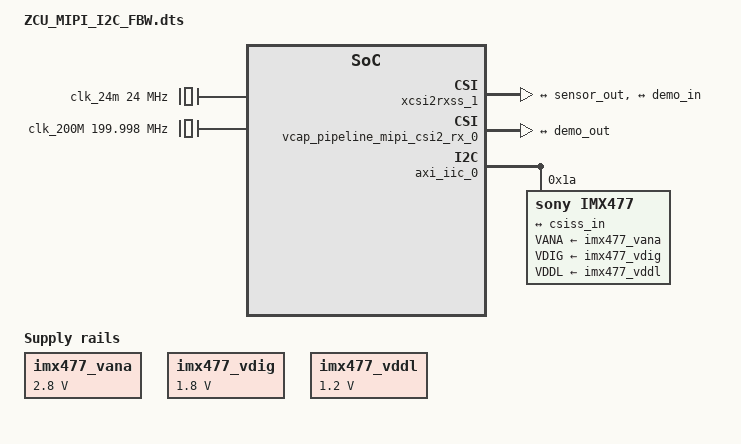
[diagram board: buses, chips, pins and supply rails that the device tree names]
/dts-v1/;
/plugin/;
/ {

    fragment@0 {
        target = <&fpga_full>;
        overlay0: __overlay__ {
            #address-cells = <2>;
            #size-cells = <2>;
            firmware-name = "mipi_with_fbw.bit";
            resets = <&zynqmp_reset 116>;
        };
    };

    fragment@1 {
        target = <&amba>;
        overlay1: __overlay__ {
            #address-cells = <2>;
            #size-cells = <2>;
/*
#define XVIP_PAD_SINK			0
#define XVIP_PAD_SOURCE			1
*/

	clk_24m: clock_24m {
	compatible = "fixed-clock";
	#clock-cells = <0>;
    	clock-frequency = <24000000>;
	};
	
	clk_200M: clock_200M {
	compatible = "fixed-clock";
	#clock-cells = <0>;
    	clock-frequency = <199998000>;
	};
	
	    v_demosaic@A0020000 {

		compatible = "xlnx,v-demosaic";
		reg = <0x0 0xA0020000 0x0 0x10000>;
		clock-names = "s_axi_aclk", "ap_clk";
		clocks = <&clk_200M>, <&clk_200M>;
		reset-gpios = <&axi_gpio_0 0x01 0x01>;
		xlnx,max-height = <3100>;
		xlnx,max-width = <4100>;
		xlnx,s-axi-ctrl-addr-width = <0x06>;
		xlnx,s-axi-ctrl-data-width = <0x20>;
			ports {
			    #address-cells = <1>;
			    #size-cells = <0>;
 	    		  port@0 {
				/* Sink port */
				reg = <0>;
				xlnx,video-format = <12>;
				xlnx,video-width = <12>;
				xlnx,cfa-pattern = "rggb";
				
				demo_in: endpoint {
				    data-lanes = <1 2>;
				    /* MIPI CSI-2 Camera handle */
				    remote-endpoint = <&csiss_out>;
				};
				};
			   port@1 {
			        /* Source port */
				reg = <1>;
				xlnx,video-format = <0x1101>;
				xlnx,cfa-pattern = "xbgr4121212";
				demo_out: endpoint {
				remote-endpoint = <&vcap_in>;
		                };
		            };
		   
			    };

	    };

		xcsi2rxss_1: csi2rx@a0000000 {
			compatible = "xlnx,mipi-csi2-rx-subsystem-5.0";
			reg = <0x0 0xa0000000 0x0 0x10000>;
			interrupt-parent = <&gic>;
			interrupts = <0 89 4>;
			xlnx,csi-pxl-format = <0x2c>;
			xlnx,vfb;
			xlnx,ppc = <1>;
			xlnx,en-active-lanes;
			xlnx,en-csi-v2-0;
			xlnx,en-vcx;
			clock-names = "lite_aclk", "dphy_clk_200M", "video_aclk"; 
			clocks = <&clk_200M>, <&clk_200M>, <&clk_200M>;
			//video-reset-gpios = <&axi_gpio_0 0x02 0x01>;
			
			ports {
			    #address-cells = <1>;
			    #size-cells = <0>;
 	    		  port@0 {
				/* Sink port */
				reg = <0>;
				xlnx,video-format = <0x2C>;
				xlnx,video-width = <12>;
				xlnx,cfa-pattern = "rggb";
				
				csiss_in: endpoint {
				    data-lanes = <1 2>;
				    /* MIPI CSI-2 Camera handle */
				    remote-endpoint = <&sensor_out>;
				};
				};
			   port@1 {
			        /* Source port */
				reg = <1>;
				xlnx,video-format = <0x2C>;
				xlnx,cfa-pattern = "rggb";
				csiss_out: endpoint {
				remote-endpoint = <&demo_in>;
		                };
		            };
		   
			    };
			};
		   

/*
		    csc@a0050000 {
			compatible = "xlnx,v-vpss-csc";
		        reg = <0x0 0xA0050000 0x0 0x10000>;
			clocks = <&clk_200M>;
			clock-names = "ap_clk";
			reset-gpios = <&axi_gpio_0 0x04 0x01>;
			xlnx,max-height = <3100>;
			xlnx,max-width = <4100>;
			ports {
			    #address-cells = <1>;
			    #size-cells = <0>;
			    port@0 {
				reg = <0>;
				xlnx,video-format = <0>;
				xlnx,video-width = <8>;
				csc_in: endpoint {
				    remote-endpoint = <&demo_out>;
				};
			    };
			    port@1 {
				reg = <1>;
				xlnx,video-format = <3>;
				xlnx,video-width = <8>;
				csc_out: endpoint {
				    remote-endpoint = <&vcap_in>;
				};
			    };
			};
		    };
*/

                v_frmbuf_wr: v_frmbuf_wr_0@A0010000 {
			#dma-cells = <1>;
		        compatible = "xlnx,axi-frmbuf-wr-v2.2";
		        reg = <0x0 0xA0010000 0x0 0x10000>;
			clock-names = "ap_clk";
			clocks = <&clk_200M>;
			interrupt-parent = <&gic>;
			interrupts = <0 90 4>;
			reset-gpios = <&axi_gpio_0 0x03 0x01>;
		        xlnx,dma-addr-width = <32>;
		        xlnx,vid-formats = "xbgr4121212", "bgr888", "rgb888", "uyvy", "yuyv";
		        xlnx,pixels-per-clock = <1>;
		        xlnx,dma-align = <16>;
		        xlnx,max-height = <3100>;
		        xlnx,max-width = <4100>;

			    
	       };

		vcap_pipeline_mipi_csi2_rx_0 {
				compatible = "xlnx,video";
				dma-names = "port0";
				dmas = <&v_frmbuf_wr 0>;

				ports {
					#address-cells = <1>;
					#size-cells = <0>;

					port@0 {
						direction = "input";
						reg = <0>;

						vcap_in: endpoint {
						    remote-endpoint = <&demo_out>;
						};
					};
					
				};
			};
			
	imx477_vana: fixedregulator@3 {
		compatible = "regulator-fixed";
		regulator-name = "imx477_vana";
		regulator-min-microvolt = <2800000>;
		regulator-max-microvolt = <2800000>;
		enable-active-high;
	};

	imx477_vdig: fixedregulator@4 {
		compatible = "regulator-fixed";
		regulator-name = "imx477_vdig";
		regulator-min-microvolt = <1800000>;
		regulator-max-microvolt = <1800000>;
	};

	imx477_vddl: fixedregulator@5 {
		compatible = "regulator-fixed";
		regulator-name = "imx477_vddl";
		regulator-min-microvolt = <1200000>;
		regulator-max-microvolt = <1200000>;
	};
	

	       axi_iic_0: i2c@A0030000 {
			#address-cells = <1>;
			#size-cells = <0>;
			clock-names = "s_axi_aclk";
			clocks = <&clk_200M>;
			compatible = "xlnx,axi-iic-2.1", "xlnx,xps-iic-2.00.a";
			interrupt-names = "iic2intc_irpt";
			interrupt-parent = <&gic>;
			interrupts = <0 104 4>;
			reg = <0x0 0xA0030000 0x0 0x10000>;


				imx477: sensor@1a {
					compatible = "sony,imx477";
					reg = <0x1a>;
					clocks = <&clk_24m>;
					VANA-supply = <&imx477_vana>;   /* 2.8v */
					VDIG-supply = <&imx477_vdig>;   /* 1.8v */
					VDDL-supply = <&imx477_vddl>;   /* 1.2v */
					//reset-gpios = <&axi_gpio 2 0 0>;
					link-frequencies = /bits/ 64 <456000000>;
					
					port {
						direction = "input";
					     sensor_out: endpoint {
						remote-endpoint = <&csiss_in>;
						data-lanes = <1 2>;
						link-frequencies = /bits/ 64 <456000000>;
						};
					};
				};
		    };
		    

		axi_gpio_0: gpio@40000000 {
			#address-cells = <1>;
			#size-cells = <0>;
			#gpio-cells = <2>;
			compatible = "xlnx,xps-gpio-1.00.a";
			reg = <0x0 0xA0040000 0x0 0x10000>;
			gpio-controller ;
			xlnx,all-inputs = <0x0>;
			xlnx,dout-default = <0xffffffff>;
			xlnx,gpio-width = <0x8>;
			xlnx,interrupt-present = <0x0>;
			xlnx,is-dual = <0x0>;
			xlnx,tri-default = <0xffffffff>;
			xlnx,tri-default-2 = <0xffffffff>;
		} ;

/*
		demos_0: mipi_demosic@A0020000 {
			compatible = "xlnx,xps-gpio-1.00.a";
			reg = <0x0 0xA0020000 0x0 0x1000>;
		};

		mipi_0: mipi_rx@A0000000 {
			compatible = "xlnx,xps-gpio-1.00.a";
			reg = <0x0 0xA0000000 0x0 0x1000>;
		};
*/


/*		axi_vdma_0: dma@A0010000{
			#dma-cells = <1>; 
			clock-names = "s_axi_aclk";
			clocks = <&zynqmp_clk 71>;
			compatible = "xlnx,axi-vdma-1.00.a";
                        interrupt-names = "vdma-s2mm-channel-irpt";
			interrupt-parent = <&axi_intc_1>;
			interrupts = <0 1 4 0 0 4>;
			reg = <0x0 0xA0010000  0x0 0x10000>;
			xlnx,addrwidth = <0x20>;
			xlnx,flush-fsync = <0x1>;
			xlnx,num-fstores = <0x1>;

                        dma-channel@A0010000 {
	                        compatible = "xlnx,axi-vdma-mm2s-channel";
	                        interrupt-parent = <&axi_intc_1>;
		                interrupts = <0 1 4>;
			        xlnx,datawidth = <0x20>;
                                xlnx,device-id = <0x0>;
	                        xlnx,genlock-mode ; 
                                xlnx,include-dre ;	
	                };

			dma-channel@A0010030 {
				compatible = "xlnx,axi-vdma-s2mm-channel";
				interrupt-parent = <&axi_intc_1>;
				interrupts = <0 0 4>;
				xlnx,datawidth = <0x20>;
				xlnx,device-id = <0x1>;
				xlnx,genlock-mode ;
				xlnx,include-dre ;
			};

		};

		vdmatest_tripple: vdmatripple@1 {
		       compatible ="xlnx, vdma-triple-buffer-1.00.a";
		       xlnx,num-fstores = <0x1>;
		       dmas = <&axi_vdma_0 1 &axi_vdma_0 0>;
		       dma-names = "vdma0", "vdma1";
		       dma-coherent;
		 } ; 
*/

        };
    };
};
